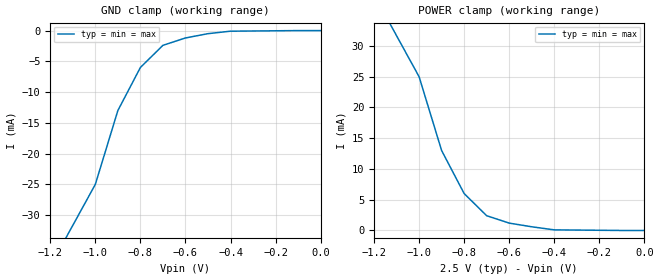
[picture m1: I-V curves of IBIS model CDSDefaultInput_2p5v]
|   File Information
[IBIS Ver]   4.2
[File Name]   cds_j1.ibs
[File Rev]   1.0
[Copyright]   (c) Copyright 2017 Cadence
|   J1
[Component]   J1
[Manufacturer]   Cadence
[Package]
| Variable   Typ   Min   Max
R_pkg   10m   10m   10m
L_pkg   0H   0H   0H
C_pkg   0F   0F   0F
[Pin]  signal_name   model_name   R_pin   L_pin   C_pin
 5   Signal1   CDSDefaultInput_2p5v 10m   0H   0F
 pwr   Power   Power   10m   0H   0F
 ngnd   GND   GND   10m   0H   0F
[Pin Mapping] pulldown_ref pullup_ref gnd_clamp_ref power_clamp_ref ext_ref
 5   ngnd   pwr   NC   NC   NC
 pwr   NC   pwr   NC   NC   NC
 ngnd   ngnd   NC   NC   NC   NC
| Models and submodels in the file (1): CDSDefaultInput_2p5v (Input)
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|   CDSDefaultInput_2p5v
[Model]   CDSDefaultInput_2p5v
Model_type   Input
Vinl   = 700mV
Vinh   = 1.7V
| Variable   Typ   Min   Max
C_comp   3pF   2pF   4pF
| Variable   Typ   Min   Max
[Temperature Range]   50   10   100
[Pullup Reference]   2.5V   2.25V   2.75V
[Pulldown Reference]   0V   0V   0V
[POWER Clamp Reference]  2.5V   2.25V   2.75V
[GND Clamp Reference]   0V   0V   0V
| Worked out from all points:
|   GND clamp passes 1 mA (typ) near -0.57 V on its own axis
|   POWER clamp passes 1 mA (typ) near -0.57 V on its own axis
[GND Clamp]
| Voltage   I(Typ)   I(Min)   I(Max)
-2.5V     -125mA     -125mA     -125mA
-1V       -25mA      -25mA      -25mA
-900mV    -13mA      -13mA      -13mA
-800mV    -6mA       -6mA       -6mA
-700mV    -2.4mA     -2.4mA     -2.4mA
-600mV    -1.2mA     -1.2mA     -1.2mA
-500mV    -500uA     -500uA     -500uA
-400mV    -100uA     -100uA     -100uA
-100mV    0A         0A         0A
0V        0A         0A         0A
[POWER Clamp]
| Voltage   I(Typ)   I(Min)   I(Max)
-2.5V     125mA      125mA      125mA
-1V       25mA       25mA       25mA
-900mV    13mA       13mA       13mA
-800mV    6mA        6mA        6mA
-700mV    2.4mA      2.4mA      2.4mA
-600mV    1.2mA      1.2mA      1.2mA
-500mV    600uA      600uA      600uA
-400mV    100uA      100uA      100uA
-100mV    0A         0A         0A
0V        0A         0A         0A
